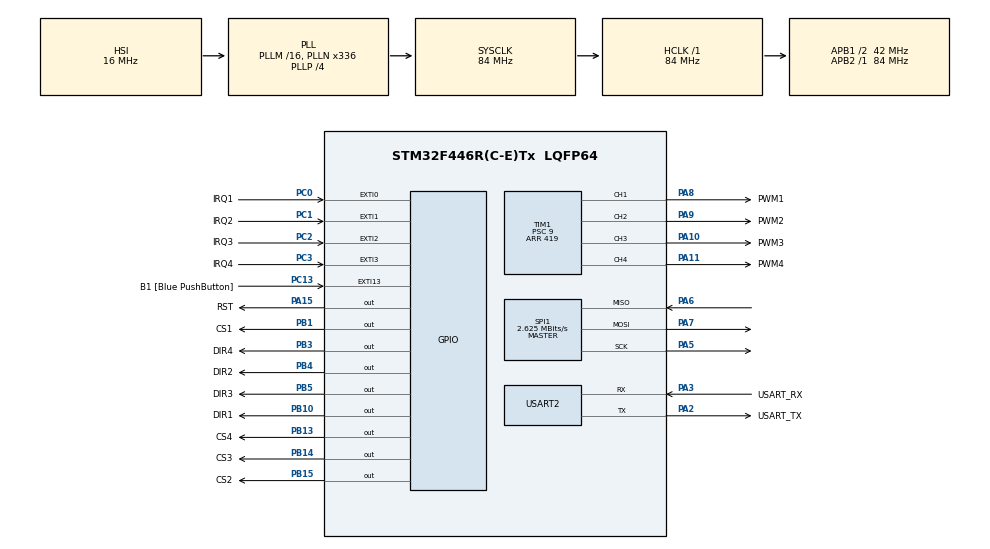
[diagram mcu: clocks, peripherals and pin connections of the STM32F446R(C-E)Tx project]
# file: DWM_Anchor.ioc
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FREERTOS.Queues01=MotorQueue,5,uint16_t,0,Dynamic,NULL,NULL
FREERTOS.Tasks01=UWB,47,512,StartDefaultTask,Default,NULL,Dynamic,NULL,NULL;UART_TX,38,256,StartTask02,Default,NULL,Dynamic,NULL,NULL;Motor,28,256,StartTask03,Default,NULL,Dynamic,NULL,NULL;idle,9,128,StartTask04,Default,NULL,Dynamic,NULL,NULL
Mcu.Family=STM32F4
Mcu.Name=STM32F446R(C-E)Tx
Mcu.Package=LQFP64
NVIC.EXTI0_IRQn=true\:5\:0\:false\:false\:true\:true\:true\:true\:true
NVIC.EXTI1_IRQn=true\:5\:0\:false\:false\:true\:true\:true\:true\:true
NVIC.EXTI2_IRQn=true\:5\:0\:false\:false\:true\:true\:true\:true\:true
NVIC.EXTI3_IRQn=true\:5\:0\:false\:false\:true\:true\:true\:true\:true
NVIC.PriorityGroup=NVIC_PRIORITYGROUP_4
NVIC.USART2_IRQn=true\:5\:0\:false\:false\:true\:true\:true\:true\:true
PA10.GPIO_Label=PWM3
PA10.Signal=S_TIM1_CH3
PA11.GPIO_Label=PWM4
PA11.Signal=S_TIM1_CH4
PA13.GPIO_Label=TMS
PA13.Mode=Serial_Wire
PA13.Signal=SYS_JTMS-SWDIO
PA14.GPIO_Label=TCK
PA14.Mode=Serial_Wire
PA14.Signal=SYS_JTCK-SWCLK
PA15.GPIO_Label=RST
PA15.GPIO_ModeDefaultOutputPP=GPIO_MODE_OUTPUT_OD
PA15.GPIO_PuPd=GPIO_NOPULL
PA15.PinState=GPIO_PIN_SET
PA15.Signal=GPIO_Output
PA2.GPIO_Label=USART_TX
PA2.Mode=Asynchronous
PA2.Signal=USART2_TX
PA3.GPIO_Label=USART_RX
PA3.Mode=Asynchronous
PA3.Signal=USART2_RX
PA5.Mode=Full_Duplex_Master
PA5.Signal=SPI1_SCK
PA6.GPIO_PuPd=GPIO_PULLUP
PA6.Mode=Full_Duplex_Master
PA6.Signal=SPI1_MISO
PA7.Mode=Full_Duplex_Master
PA7.Signal=SPI1_MOSI
PA8.GPIO_Label=PWM1
PA8.Signal=S_TIM1_CH1
PA9.GPIO_Label=PWM2
PA9.Signal=S_TIM1_CH2
PB1.GPIO_Label=CS1
PB1.GPIO_PuPd=GPIO_PULLUP
PB1.GPIO_Speed=GPIO_SPEED_FREQ_MEDIUM
PB1.PinState=GPIO_PIN_SET
PB1.Signal=GPIO_Output
PB10.GPIO_Label=DIR1
PB10.GPIO_PuPd=GPIO_PULLDOWN
PB10.GPIO_Speed=GPIO_SPEED_FREQ_MEDIUM
PB10.Signal=GPIO_Output
PB13.GPIO_Label=CS4
PB13.GPIO_PuPd=GPIO_PULLUP
PB13.GPIO_Speed=GPIO_SPEED_FREQ_MEDIUM
PB13.PinState=GPIO_PIN_SET
PB13.Signal=GPIO_Output
PB14.GPIO_Label=CS3
PB14.GPIO_PuPd=GPIO_PULLUP
PB14.GPIO_Speed=GPIO_SPEED_FREQ_MEDIUM
PB14.PinState=GPIO_PIN_SET
PB14.Signal=GPIO_Output
PB15.GPIO_Label=CS2
PB15.GPIO_PuPd=GPIO_PULLUP
PB15.GPIO_Speed=GPIO_SPEED_FREQ_MEDIUM
PB15.PinState=GPIO_PIN_SET
PB15.Signal=GPIO_Output
PB3.GPIO_Label=DIR4
PB3.GPIO_PuPd=GPIO_PULLDOWN
PB3.GPIO_Speed=GPIO_SPEED_FREQ_MEDIUM
PB3.Signal=GPIO_Output
PB4.GPIO_Label=DIR2
PB4.GPIO_PuPd=GPIO_PULLDOWN
PB4.GPIO_Speed=GPIO_SPEED_FREQ_MEDIUM
PB4.Signal=GPIO_Output
PB5.GPIO_Label=DIR3
PB5.GPIO_PuPd=GPIO_PULLDOWN
PB5.GPIO_Speed=GPIO_SPEED_FREQ_MEDIUM
PB5.Signal=GPIO_Output
PC0.GPIO_Label=IRQ1
PC0.GPIO_PuPd=GPIO_PULLUP
PC0.Signal=GPXTI0
PC1.GPIO_Label=IRQ2
PC1.GPIO_PuPd=GPIO_PULLUP
PC1.Signal=GPXTI1
PC13.GPIO_Label=B1 [Blue PushButton]
PC13.GPIO_ModeDefaultEXTI=GPIO_MODE_IT_FALLING
PC13.Signal=GPXTI13
PC14-OSC32_IN.Mode=LSE-External-Oscillator
PC14-OSC32_IN.Signal=RCC_OSC32_IN
PC15-OSC32_OUT.Mode=LSE-External-Oscillator
PC15-OSC32_OUT.Signal=RCC_OSC32_OUT
PC2.GPIO_Label=IRQ3
PC2.GPIO_PuPd=GPIO_PULLUP
PC2.Signal=GPXTI2
PC3.GPIO_Label=IRQ4
PC3.GPIO_PuPd=GPIO_PULLUP
PC3.Signal=GPXTI3
PH0-OSC_IN.Mode=HSE-External-Oscillator
PH0-OSC_IN.Signal=RCC_OSC_IN
PH1-OSC_OUT.Mode=HSE-External-Oscillator
PH1-OSC_OUT.Signal=RCC_OSC_OUT
ProjectManager.HeapSize=0x200
ProjectManager.StackSize=0x400
ProjectManager.TargetToolchain=STM32CubeIDE
RCC.48MHZClocksFreq_Value=84000000
RCC.AHBFreq_Value=84000000
RCC.APB1CLKDivider=RCC_HCLK_DIV2
RCC.APB1Freq_Value=42000000
RCC.APB1TimFreq_Value=84000000
RCC.APB2Freq_Value=84000000
RCC.APB2TimFreq_Value=84000000
RCC.CortexFreq_Value=84000000
RCC.FLatency-AdvancedSettings=FLASH_LATENCY_2
RCC.HCLKFreq_Value=84000000
RCC.HSE_VALUE=8000000
RCC.HSI_VALUE=16000000
RCC.PLLN=336
RCC.PLLP=RCC_PLLP_DIV4
RCC.SYSCLKFreq_VALUE=84000000
RCC.SYSCLKSource=RCC_SYSCLKSOURCE_PLLCLK
RCC.USBFreq_Value=168000000
RCC.VCOOutputFreq_Value=336000000
SH.S_TIM1_CH1.0=TIM1_CH1,PWM Generation1 CH1
SH.S_TIM1_CH2.0=TIM1_CH2,PWM Generation2 CH2
SH.S_TIM1_CH3.0=TIM1_CH3,PWM Generation3 CH3
SH.S_TIM1_CH4.0=TIM1_CH4,PWM Generation4 CH4
SPI1.BaudRatePrescaler=SPI_BAUDRATEPRESCALER_32
SPI1.CalculateBaudRate=2.625 MBits/s
SPI1.Direction=SPI_DIRECTION_2LINES
SPI1.Mode=SPI_MODE_MASTER
SPI1.VirtualType=VM_MASTER
TIM1.AutoReloadPreload=TIM_AUTORELOAD_PRELOAD_ENABLE
TIM1.Channel-PWM\ Generation1\ CH1=TIM_CHANNEL_1
TIM1.Channel-PWM\ Generation2\ CH2=TIM_CHANNEL_2
TIM1.Channel-PWM\ Generation3\ CH3=TIM_CHANNEL_3
TIM1.Channel-PWM\ Generation4\ CH4=TIM_CHANNEL_4
TIM1.Period=419
TIM1.Prescaler=9
TIM1.Pulse-PWM\ Generation1\ CH1=5
TIM1.Pulse-PWM\ Generation2\ CH2=5
TIM1.Pulse-PWM\ Generation3\ CH3=5
TIM1.Pulse-PWM\ Generation4\ CH4=5
USART2.VirtualMode=VM_ASYNC
VP_FREERTOS_VS_CMSIS_V2.Mode=CMSIS_V2
VP_TIM1_VS_ClockSourceINT.Mode=Internal
board=NUCLEO-F446RE

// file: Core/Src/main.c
/* USER CODE BEGIN Header */
/**
  ******************************************************************************
  * @file           : main_combined_simple.c
  * @brief          : Simple Mode Selection - Motor Control OR UWB Ranging
  * @version        : 1.1 - Fully Separated Systems
  ******************************************************************************
  * Press '1' = Motor Control Mode (dedicated)
  * Press '2' = UWB Ranging Mode (dedicated)
  * Press RESET = Back to menu
  ******************************************************************************
  */
/* USER CODE END Header */
#include "main.h"
#include "cmsis_os.h"
#include "spi.h"
#include "tim.h"
#include "usart.h"
#include "gpio.h"

void SystemClock_Config(void);
void MX_FREERTOS_Init(void);

int main(void)
{

  /* MCU Configuration--------------------------------------------------------*/

  /* Reset of all peripherals, Initializes the Flash interface and the Systick. */
  HAL_Init();

  /* Configure the system clock */
  SystemClock_Config();

  /* Initialize all configured peripherals */
  MX_GPIO_Init();
  MX_USART2_UART_Init();
  MX_TIM1_Init();
  MX_SPI1_Init();

  /* Init scheduler */
  osKernelInitialize();  /* Call init function for freertos objects (in cmsis_os2.c) */
  MX_FREERTOS_Init();

  /* Start scheduler */
  osKernelStart();

  /* We should never get here as control is now taken by the scheduler */

  /* Infinite loop */
  while (1)
  {

  }
}

void SystemClock_Config(void)
{
  RCC_OscInitTypeDef RCC_OscInitStruct = {0};
  RCC_ClkInitTypeDef RCC_ClkInitStruct = {0};

  /** Configure the main internal regulator output voltage
  */
  __HAL_RCC_PWR_CLK_ENABLE();
  __HAL_PWR_VOLTAGESCALING_CONFIG(PWR_REGULATOR_VOLTAGE_SCALE3);

  /** Initializes the RCC Oscillators according to the specified parameters
  * in the RCC_OscInitTypeDef structure.
  */
  RCC_OscInitStruct.OscillatorType = RCC_OSCILLATORTYPE_HSI;
  RCC_OscInitStruct.HSIState = RCC_HSI_ON;
  RCC_OscInitStruct.HSICalibrationValue = RCC_HSICALIBRATION_DEFAULT;
  RCC_OscInitStruct.PLL.PLLState = RCC_PLL_ON;
  RCC_OscInitStruct.PLL.PLLSource = RCC_PLLSOURCE_HSI;
  RCC_OscInitStruct.PLL.PLLM = 16;
  RCC_OscInitStruct.PLL.PLLN = 336;
  RCC_OscInitStruct.PLL.PLLP = RCC_PLLP_DIV4;
  RCC_OscInitStruct.PLL.PLLQ = 2;
  RCC_OscInitStruct.PLL.PLLR = 2;
  if (HAL_RCC_OscConfig(&RCC_OscInitStruct) != HAL_OK)
  {
    Error_Handler();
  }

  /** Initializes the CPU, AHB and APB buses clocks
  */
  RCC_ClkInitStruct.ClockType = RCC_CLOCKTYPE_HCLK|RCC_CLOCKTYPE_SYSCLK
                              |RCC_CLOCKTYPE_PCLK1|RCC_CLOCKTYPE_PCLK2;
  RCC_ClkInitStruct.SYSCLKSource = RCC_SYSCLKSOURCE_PLLCLK;
  RCC_ClkInitStruct.AHBCLKDivider = RCC_SYSCLK_DIV1;
  RCC_ClkInitStruct.APB1CLKDivider = RCC_HCLK_DIV2;
  RCC_ClkInitStruct.APB2CLKDivider = RCC_HCLK_DIV1;

  if (HAL_RCC_ClockConfig(&RCC_ClkInitStruct, FLASH_LATENCY_2) != HAL_OK)
  {
    Error_Handler();
  }
}

void Error_Handler(void)
{
  __disable_irq();
  while (1)
  {
  }
}

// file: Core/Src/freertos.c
/* USER CODE BEGIN Header */
/**
  ******************************************************************************
  * File Name          : freertos.c
  * Description        : Code for freertos applications
  ******************************************************************************
  * @attention
  *
  * Copyright (c) 2026 STMicroelectronics.
  * All rights reserved.
  *
  * This software is licensed under terms that can be found in the LICENSE file
  * in the root directory of this software component.
  * If no LICENSE file comes with this software, it is provided AS-IS.
  *
  ******************************************************************************
  */
/* USER CODE END Header */

#include "FreeRTOS.h"
#include "task.h"
#include "main.h"
#include "cmsis_os.h"

/* USER CODE BEGIN Includes */
#include <string.h>
#include <stdio.h>
#include <stdlib.h>
#include <stdarg.h>  // ← เพิ่มบรรทัดนี้สำหรับ va_list
#include <math.h>
#include "spi.h"
#include "tim.h"
#include "usart.h"
#include "gpio.h"
#include "deca_device_api.h"
#include "deca_regs.h"
#include "deca_spi.h"

extern UART_HandleTypeDef huart2;
extern SPI_HandleTypeDef hspi1;
extern TIM_HandleTypeDef htim1;

// Forward declarations
extern void reset_DW1000(void);
extern int openspi(void);
extern int dw1000_select_chip(uint8_t cs_num);
/* USER CODE END Includes */

/* USER CODE BEGIN Variables */

// ============= Debug Helper =============
void debug_print(const char* msg) {
    taskENTER_CRITICAL();
    HAL_UART_Transmit(&huart2, (uint8_t*)msg, strlen(msg), 100);
    taskEXIT_CRITICAL();
}

void debug_printf(const char* format, ...) {
    char buffer[128];
    va_list args;
    va_start(args, format);
    vsnprintf(buffer, sizeof(buffer), format, args);
    va_end(args);

    taskENTER_CRITICAL();
    HAL_UART_Transmit(&huart2, (uint8_t*)buffer, strlen(buffer), 100);
    taskEXIT_CRITICAL();
}

// ============= Shared Data (UWB) =============
float distances[4] = {0.0, 0.0, 0.0, 0.0};
volatile uint8_t uwb_data_ready = 0;

// ============= Motor Variables =============
typedef struct {
    int motor1;
    int motor2;
    int motor3;
    int motor4;
} MotorCmd_t;

int motor_1_speed = 0;
int motor_2_speed = 0;
int motor_3_speed = 0;
int motor_4_speed = 0;

int motor_1_target = 0;
int motor_2_target = 0;
int motor_3_target = 0;
int motor_4_target = 0;

// ============= UART RX Variables =============
uint8_t rxBuffer[50];
uint8_t rxIndex = 0;
uint8_t rxData;

/* USER CODE END Variables */
/* Definitions for UWB */
osThreadId_t UWBHandle;
const osThreadAttr_t UWB_attributes = {
  .name = "UWB",
  .stack_size = 512 * 4,
  .priority = (osPriority_t) osPriorityHigh7,
};
/* Definitions for UART_TX */
osThreadId_t UART_TXHandle;
const osThreadAttr_t UART_TX_attributes = {
  .name = "UART_TX",
  .stack_size = 256 * 4,
  .priority = (osPriority_t) osPriorityAboveNormal6,
};
/* Definitions for Motor */
osThreadId_t MotorHandle;
const osThreadAttr_t Motor_attributes = {
  .name = "Motor",
  .stack_size = 256 * 4,
  .priority = (osPriority_t) osPriorityNormal4,
};
/* Definitions for idle */
osThreadId_t idleHandle;
const osThreadAttr_t idle_attributes = {
  .name = "idle",
  .stack_size = 128 * 4,
  .priority = (osPriority_t) osPriorityLow1,
};
/* Definitions for MotorQueue */
osMessageQueueId_t MotorQueueHandle;
const osMessageQueueAttr_t MotorQueue_attributes = {
  .name = "MotorQueue"
};

/* USER CODE BEGIN FunctionPrototypes */

// Forward declaration
void Motor_Control(int motor_num, int speed);

// UART Interrupt Callback
void HAL_UART_RxCpltCallback(UART_HandleTypeDef *huart)
{
  if (huart->Instance == USART2) {
    if (rxData == '\n' || rxData == '\r') {
      if (rxIndex > 0) {
        rxBuffer[rxIndex] = '\0';

        // Parse คำสั่ง M:m1,m2,m3,m4
        if (strncmp((char*)rxBuffer, "M:", 2) == 0) {
          MotorCmd_t cmd = {0, 0, 0, 0};

          sscanf((char*)rxBuffer, "M:%d,%d,%d,%d",
                 &cmd.motor1, &cmd.motor2, &cmd.motor3, &cmd.motor4);

          // ส่งไป Motor Task
          osMessageQueuePut(MotorQueueHandle, &cmd, 0, 0);
        }

        rxIndex = 0;
      }
    }
    else if (rxIndex < sizeof(rxBuffer) - 1) {
      rxBuffer[rxIndex++] = rxData;
    }

    HAL_UART_Receive_IT(&huart2, &rxData, 1);
  }
}

/* USER CODE END FunctionPrototypes */

void StartDefaultTask(void *argument);
void StartTask02(void *argument);
void StartTask03(void *argument);
void StartTask04(void *argument);

void MX_FREERTOS_Init(void); /* (MISRA C 2004 rule 8.1) */

void MX_FREERTOS_Init(void) {

  /* Create the queue(s) */
  /* creation of MotorQueue */
  MotorQueueHandle = osMessageQueueNew (5, sizeof(uint16_t), &MotorQueue_attributes);

  /* Create the thread(s) */
  /* creation of UWB */
  UWBHandle = osThreadNew(StartDefaultTask, NULL, &UWB_attributes);

  /* creation of UART_TX */
  UART_TXHandle = osThreadNew(StartTask02, NULL, &UART_TX_attributes);

  /* creation of Motor */
  MotorHandle = osThreadNew(StartTask03, NULL, &Motor_attributes);

  /* creation of idle */
  idleHandle = osThreadNew(StartTask04, NULL, &idle_attributes);

}

void StartDefaultTask(void *argument)
{
    /* USER CODE BEGIN StartDefaultTask */
	debug_print("\r\n[UWB Task] Starting...\r\n");
	// เริ่ม UART Receive Interrupt
	HAL_UART_Receive_IT(&huart2, &rxData, 1);
	debug_print("[UWB Task] UART RX Started\r\n\r\n");

	// Init UWB
	openspi();
	osDelay(100);

	// เริ่ม PWM สำหรับ Motor (ทำครั้งเดียวตอน init)
	HAL_TIM_PWM_Start(&htim1, TIM_CHANNEL_1);
	HAL_TIM_PWM_Start(&htim1, TIM_CHANNEL_2);
	HAL_TIM_PWM_Start(&htim1, TIM_CHANNEL_3);
	HAL_TIM_PWM_Start(&htim1, TIM_CHANNEL_4);

	debug_print("[UWB Task] PWM Started\r\n");
	debug_print("[UWB Task] Ready!\r\n\r\n");

	TickType_t xLastWakeTime = xTaskGetTickCount();
	const TickType_t xFrequency = pdMS_TO_TICKS(100); // 100ms = 10Hz

	/* Infinite loop */
	for(;;)
	{
	  // LED Heartbeat
	  HAL_GPIO_TogglePin(GPIOA, GPIO_PIN_5);

	  // TODO: อ่าน UWB 4 CS (ทำในขั้นต่อไป)
	  // ตอนนี้ส่งค่า dummy ก่อน
	  distances[0] = 1.23;
	  distances[1] = 2.34;
	  distances[2] = 3.45;
	  distances[3] = 4.56;

	  // บอก UART Task ว่าข้อมูลพร้อม
	  uwb_data_ready = 1;
	  xTaskNotifyGive(UART_TXHandle);

	  // Debug
	  //debug_printf("[UWB] Tick: %lu\r\n", xTaskGetTickCount());

	  // รอจนครบ 100ms พอดี (guarantee timing)
	  vTaskDelayUntil(&xLastWakeTime, xFrequency);
	}
	/* USER CODE END StartDefaultTask */
}

void StartTask02(void *argument)
{
	/* USER CODE BEGIN StartTask02 */
	char tx_buffer[100];

	debug_print("[UART TX Task] Starting...\r\n");

	/* Infinite loop */
	for(;;)
	{
	  // รอให้ UWB Task บอกว่าข้อมูลพร้อม
	  ulTaskNotifyTake(pdTRUE, portMAX_DELAY);

	  if(uwb_data_ready) {
	      // ส่งข้อมูล UWB ทั้ง 4 CS
	      taskENTER_CRITICAL();  // ป้องกัน race condition
	      sprintf(tx_buffer, "$%.2f,%.2f,%.2f,%.2f*\r\n",
	              distances[0], distances[1],
	              distances[2], distances[3]);
	      uwb_data_ready = 0;
	      taskEXIT_CRITICAL();

	      HAL_UART_Transmit(&huart2, (uint8_t*)tx_buffer, strlen(tx_buffer), 100);
	  }
	}
	/* USER CODE END StartTask02 */
}

void StartTask03(void *argument)
{
	/* USER CODE BEGIN StartTask03 */
	MotorCmd_t cmd;

	debug_print("[Motor Task] Starting...\r\n");

	/* Infinite loop */
	for(;;)
	{
	  // รอคำสั่งจาก Queue
	  if(osMessageQueueGet(MotorQueueHandle, &cmd, NULL, 100) == osOK) {

	    motor_1_target = cmd.motor1;
	    motor_2_target = cmd.motor2;
	    motor_3_target = cmd.motor3;
	    motor_4_target = cmd.motor4;

	    debug_printf("[Motor] Received: M1=%d M2=%d M3=%d M4=%d\r\n",
	                 cmd.motor1, cmd.motor2, cmd.motor3, cmd.motor4);

	    // TODO: Motor_Soft_Update() (ทำในขั้นต่อไป)
	    // ตอนนี้ควบคุมโดยตรงก่อน
	    Motor_Control(1, motor_1_target);
	    Motor_Control(2, motor_2_target);
	    Motor_Control(3, motor_3_target);
	    Motor_Control(4, motor_4_target);
	  }

	  osDelay(20);
	}
	/* USER CODE END StartTask03 */
}

void StartTask04(void *argument)
{
  for(;;)
  {
    osDelay(1);
  }
}

/* USER CODE BEGIN Application */

void Motor_Control(int motor_num, int speed)
{
  GPIO_TypeDef* dir_port;
  uint16_t dir_pin;
  uint32_t pwm_channel;

  switch(motor_num) {
    case 1:
      dir_port = GPIOB;
      dir_pin = GPIO_PIN_10;
      pwm_channel = TIM_CHANNEL_1;
      break;
    case 2:
      dir_port = GPIOB;
      dir_pin = GPIO_PIN_4;
      pwm_channel = TIM_CHANNEL_2;
      break;
    case 3:
      dir_port = GPIOB;
      dir_pin = GPIO_PIN_5;
      pwm_channel = TIM_CHANNEL_3;
      break;
    case 4:
      dir_port = GPIOB;
      dir_pin = GPIO_PIN_3;
      pwm_channel = TIM_CHANNEL_4;
      break;
    default:
      return;
  }

  if (speed == 0) {
    __HAL_TIM_SET_COMPARE(&htim1, pwm_channel, 0);
  }
  else if (speed > 0) {
    HAL_GPIO_WritePin(dir_port, dir_pin, GPIO_PIN_RESET);
    __HAL_TIM_SET_COMPARE(&htim1, pwm_channel, (speed * 420) / 100);
  }
  else {
    HAL_GPIO_WritePin(dir_port, dir_pin, GPIO_PIN_SET);
    __HAL_TIM_SET_COMPARE(&htim1, pwm_channel, ((-speed) * 420) / 100);
  }
}

/* USER CODE END Application */
